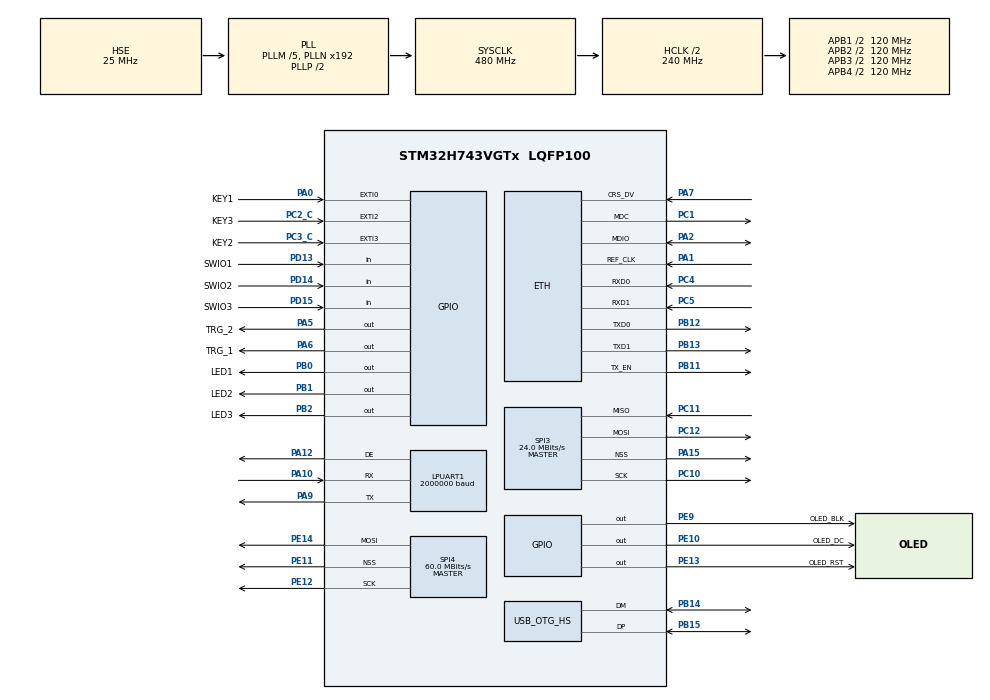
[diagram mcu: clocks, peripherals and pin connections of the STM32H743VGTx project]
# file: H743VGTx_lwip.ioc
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ADC3.Channel-0\#ChannelRegularConversion=ADC_CHANNEL_TEMPSENSOR
ADC3.NbrOfConversionFlag=1
ADC3.OffsetNumber-0\#ChannelRegularConversion=ADC_OFFSET_NONE
ADC3.OffsetSignedSaturation-0\#ChannelRegularConversion=DISABLE
ADC3.Rank-0\#ChannelRegularConversion=1
ADC3.SamplingTime-0\#ChannelRegularConversion=ADC_SAMPLETIME_810CYCLES_5
Bdma.LPUART1_RX.0.Direction=DMA_PERIPH_TO_MEMORY
Bdma.LPUART1_RX.0.EventEnable=DISABLE
Bdma.LPUART1_RX.0.Instance=BDMA_Channel0
Bdma.LPUART1_RX.0.MemDataAlignment=DMA_MDATAALIGN_BYTE
Bdma.LPUART1_RX.0.MemInc=DMA_MINC_ENABLE
Bdma.LPUART1_RX.0.Mode=DMA_NORMAL
Bdma.LPUART1_RX.0.PeriphDataAlignment=DMA_PDATAALIGN_BYTE
Bdma.LPUART1_RX.0.PeriphInc=DMA_PINC_DISABLE
Bdma.LPUART1_RX.0.Polarity=HAL_DMAMUX_REQ_GEN_RISING
Bdma.LPUART1_RX.0.Priority=DMA_PRIORITY_HIGH
Bdma.LPUART1_RX.0.RequestNumber=1
Bdma.LPUART1_RX.0.SignalID=NONE
Bdma.LPUART1_RX.0.SyncEnable=DISABLE
Bdma.LPUART1_RX.0.SyncPolarity=HAL_DMAMUX_SYNC_NO_EVENT
Bdma.LPUART1_RX.0.SyncRequestNumber=1
Bdma.LPUART1_RX.0.SyncSignalID=NONE
Bdma.LPUART1_TX.1.Direction=DMA_MEMORY_TO_PERIPH
Bdma.LPUART1_TX.1.EventEnable=DISABLE
Bdma.LPUART1_TX.1.Instance=BDMA_Channel1
Bdma.LPUART1_TX.1.MemDataAlignment=DMA_MDATAALIGN_BYTE
Bdma.LPUART1_TX.1.MemInc=DMA_MINC_ENABLE
Bdma.LPUART1_TX.1.Mode=DMA_NORMAL
Bdma.LPUART1_TX.1.PeriphDataAlignment=DMA_PDATAALIGN_BYTE
Bdma.LPUART1_TX.1.PeriphInc=DMA_PINC_DISABLE
Bdma.LPUART1_TX.1.Polarity=HAL_DMAMUX_REQ_GEN_RISING
Bdma.LPUART1_TX.1.Priority=DMA_PRIORITY_HIGH
Bdma.LPUART1_TX.1.RequestNumber=1
Bdma.LPUART1_TX.1.SignalID=NONE
Bdma.LPUART1_TX.1.SyncEnable=DISABLE
Bdma.LPUART1_TX.1.SyncPolarity=HAL_DMAMUX_SYNC_NO_EVENT
Bdma.LPUART1_TX.1.SyncRequestNumber=1
Bdma.LPUART1_TX.1.SyncSignalID=NONE
Bdma.Request0=LPUART1_RX
Bdma.Request1=LPUART1_TX
Bdma.RequestsNb=2
CORTEX_M7.AccessPermission_S-Cortex_Memory_Protection_Unit_Region1_Settings_S=MPU_REGION_FULL_ACCESS
CORTEX_M7.AccessPermission_S-Cortex_Memory_Protection_Unit_Region2_Settings_S=MPU_REGION_FULL_ACCESS
CORTEX_M7.BaseAddress_S-Cortex_Memory_Protection_Unit_Region1_Settings_S=0x30020000
CORTEX_M7.BaseAddress_S-Cortex_Memory_Protection_Unit_Region2_Settings_S=0x30040000
CORTEX_M7.CPU_DCache=Enabled
CORTEX_M7.CPU_ICache=Enabled
CORTEX_M7.DisableExec_S-Cortex_Memory_Protection_Unit_Region1_Settings_S=MPU_INSTRUCTION_ACCESS_DISABLE
CORTEX_M7.DisableExec_S-Cortex_Memory_Protection_Unit_Region2_Settings_S=MPU_INSTRUCTION_ACCESS_DISABLE
CORTEX_M7.Enable_S-Cortex_Memory_Protection_Unit_Region1_Settings_S=MPU_REGION_ENABLE
CORTEX_M7.Enable_S-Cortex_Memory_Protection_Unit_Region2_Settings_S=MPU_REGION_ENABLE
CORTEX_M7.IsBufferable_S-Cortex_Memory_Protection_Unit_Region2_Settings_S=MPU_ACCESS_BUFFERABLE
CORTEX_M7.IsShareable_S-Cortex_Memory_Protection_Unit_Region2_Settings_S=MPU_ACCESS_SHAREABLE
CORTEX_M7.Size_S-Cortex_Memory_Protection_Unit_Region1_Settings_S=MPU_REGION_SIZE_128KB
CORTEX_M7.Size_S-Cortex_Memory_Protection_Unit_Region2_Settings_S=MPU_REGION_SIZE_512B
CORTEX_M7.TypeExtField_S-Cortex_Memory_Protection_Unit_Region1_Settings_S=MPU_TEX_LEVEL1
CORTEX_M7.default_mode_Activation=1
CRC.CRCLength=CRC_POLYLENGTH_16B
CRC.DefaultPolynomialUse=DEFAULT_POLYNOMIAL_DISABLE
CRC.GeneratingPolynomial=X15+X2+X0
CRC.InputDataInversionMode=CRC_INPUTDATA_INVERSION_BYTE
CRC.OutputDataInversionMode=CRC_OUTPUTDATA_INVERSION_ENABLE
ETH.MediaInterface=HAL_ETH_RMII_MODE
ETH.RxBuffLen=1536
ETH.RxDescAddress=0x30040000
ETH.TxDescAddress=0x30040200
FREERTOS.Tasks01=defaultTask,24,512,StartDefaultTask,Default,NULL,Dynamic,NULL,NULL;adcTask,8,512,StartAdcTask,Default,NULL,Dynamic,NULL,NULL;modbusTask,40,2048,StartModbusTask,Default,NULL,Dynamic,NULL,NULL
FREERTOS.configENABLE_FPU=0
FREERTOS.configMINIMAL_STACK_SIZE=512
FREERTOS.configTOTAL_HEAP_SIZE=32768
FREERTOS.configUSE_NEWLIB_REENTRANT=1
LPUART1.BaudRate=2000000
LWIP.BSP.number=1
LWIP.DEFAULT_THREAD_STACKSIZE=2048
LWIP.GATEWAY_ADDRESS=192.168.001.001
LWIP.IP_ADDRESS=192.168.001.010
LWIP.LWIP_DHCP=0
LWIP.LWIP_IGMP=1
LWIP.LWIP_MULTICAST_TX_OPTIONS=1
LWIP.LWIP_RAM_HEAP_POINTER=0x30020000
LWIP.LWIP_RAW=1
LWIP.MEM_SIZE=131048
LWIP.NETMASK_ADDRESS=255.255.255.000
LWIP.TCPIP_THREAD_STACKSIZE=2048
LWIP.Version=v2.1.2_Cube
LWIP0.BSP.STBoard=false
LWIP0.BSP.api=BSP_COMPONENT_DRIVER
LWIP0.BSP.component=LAN8742
LWIP0.BSP.instance=LAN8742
LWIP0.BSP.name=Driver_PHY
LWIP0.BSP.semaphore=S_LAN8742
LWIP0.BSP.solution=LAN8742
Mcu.Family=STM32H7
Mcu.Name=STM32H743VGTx
Mcu.Package=LQFP100
NVIC.BDMA_Channel0_IRQn=true\:5\:0\:false\:false\:true\:true\:false\:true\:true
NVIC.BDMA_Channel1_IRQn=true\:5\:0\:false\:false\:true\:true\:false\:true\:true
NVIC.ETH_IRQn=true\:5\:0\:false\:false\:true\:true\:true\:true\:true
NVIC.EXTI0_IRQn=true\:5\:0\:false\:false\:true\:true\:true\:true\:true
NVIC.EXTI2_IRQn=true\:5\:0\:false\:false\:true\:true\:true\:true\:true
NVIC.EXTI3_IRQn=true\:5\:0\:false\:false\:true\:true\:true\:true\:true
NVIC.LPUART1_IRQn=true\:5\:0\:false\:false\:true\:true\:true\:true\:true
NVIC.OTG_HS_IRQn=true\:5\:0\:false\:false\:true\:true\:false\:true\:true
NVIC.PriorityGroup=NVIC_PRIORITYGROUP_4
NVIC.TIM2_IRQn=true\:5\:0\:false\:false\:true\:true\:true\:true\:true
NVIC.TIM6_DAC_IRQn=true\:15\:0\:false\:false\:true\:false\:false\:true\:true
NVIC.TimeBase=TIM6_DAC_IRQn
NVIC.TimeBaseIP=TIM6
PA0.GPIO_Label=KEY1
PA0.GPIO_ModeDefaultEXTI=GPIO_MODE_IT_RISING_FALLING
PA0.GPIO_PuPd=GPIO_PULLUP
PA0.Signal=GPXTI0
PA1.GPIO_Speed=GPIO_SPEED_FREQ_VERY_HIGH
PA1.Mode=RMII
PA1.Signal=ETH_REF_CLK
PA10.GPIO_PuPd=GPIO_PULLUP
PA10.GPIO_Speed=GPIO_SPEED_FREQ_VERY_HIGH
PA10.Mode=Asynchronous
PA10.Signal=LPUART1_RX
PA12.GPIO_PuPd=GPIO_PULLDOWN
PA12.GPIO_Speed=GPIO_SPEED_FREQ_HIGH
PA12.Mode=Hardware Flow Control (RS485)
PA12.Signal=LPUART1_DE
PA13\ (JTMS/SWDIO).Mode=Serial_Wire
PA13\ (JTMS/SWDIO).Signal=DEBUG_JTMS-SWDIO
PA14\ (JTCK/SWCLK).Mode=Serial_Wire
PA14\ (JTCK/SWCLK).Signal=DEBUG_JTCK-SWCLK
PA15\ (JTDI).GPIO_PuPd=GPIO_PULLUP
PA15\ (JTDI).Mode=NSS_Signal_Hard_Output
PA15\ (JTDI).Signal=SPI3_NSS
PA2.GPIO_Speed=GPIO_SPEED_FREQ_VERY_HIGH
PA2.Mode=RMII
PA2.Signal=ETH_MDIO
PA5.GPIO_Label=TRG_2
PA5.GPIO_PuPd=GPIO_PULLDOWN
PA5.GPIO_Speed=GPIO_SPEED_FREQ_HIGH
PA5.Signal=GPIO_Output
PA6.GPIO_Label=TRG_1
PA6.GPIO_PuPd=GPIO_PULLDOWN
PA6.GPIO_Speed=GPIO_SPEED_FREQ_HIGH
PA6.Signal=GPIO_Output
PA7.GPIO_Speed=GPIO_SPEED_FREQ_VERY_HIGH
PA7.Mode=RMII
PA7.Signal=ETH_CRS_DV
PA9.GPIO_Speed=GPIO_SPEED_FREQ_VERY_HIGH
PA9.Mode=Asynchronous
PA9.Signal=LPUART1_TX
PB0.GPIO_Label=LED1
PB0.Signal=GPIO_Output
PB1.GPIO_Label=LED2
PB1.Signal=GPIO_Output
PB11.GPIO_Speed=GPIO_SPEED_FREQ_VERY_HIGH
PB11.Mode=RMII
PB11.Signal=ETH_TX_EN
PB12.GPIO_Speed=GPIO_SPEED_FREQ_VERY_HIGH
PB12.Mode=RMII
PB12.Signal=ETH_TXD0
PB13.GPIO_Speed=GPIO_SPEED_FREQ_VERY_HIGH
PB13.Mode=RMII
PB13.Signal=ETH_TXD1
PB14.Mode=Device_Only_FS
PB14.Signal=USB_OTG_HS_DM
PB15.Mode=Device_Only_FS
PB15.Signal=USB_OTG_HS_DP
PB2.GPIO_Label=LED3
PB2.Signal=GPIO_Output
PC1.GPIO_Speed=GPIO_SPEED_FREQ_VERY_HIGH
PC1.Mode=RMII
PC1.Signal=ETH_MDC
PC10.Mode=Full_Duplex_Master
PC10.Signal=SPI3_SCK
PC11.Mode=Full_Duplex_Master
PC11.Signal=SPI3_MISO
PC12.Mode=Full_Duplex_Master
PC12.Signal=SPI3_MOSI
PC2_C.GPIO_Label=KEY3
PC2_C.GPIO_ModeDefaultEXTI=GPIO_MODE_IT_RISING_FALLING
PC2_C.GPIO_PuPd=GPIO_PULLUP
PC2_C.Signal=GPXTI2
PC3_C.GPIO_Label=KEY2
PC3_C.GPIO_ModeDefaultEXTI=GPIO_MODE_IT_RISING_FALLING
PC3_C.GPIO_PuPd=GPIO_PULLUP
PC3_C.Signal=GPXTI3
PC4.GPIO_Speed=GPIO_SPEED_FREQ_VERY_HIGH
PC4.Mode=RMII
PC4.Signal=ETH_RXD0
PC5.GPIO_Speed=GPIO_SPEED_FREQ_VERY_HIGH
PC5.Mode=RMII
PC5.Signal=ETH_RXD1
PD13.GPIO_Label=SWIO1
PD13.GPIO_PuPd=GPIO_PULLUP
PD13.Signal=GPIO_Input
PD14.GPIO_Label=SWIO2
PD14.GPIO_PuPd=GPIO_PULLUP
PD14.Signal=GPIO_Input
PD15.GPIO_Label=SWIO3
PD15.GPIO_PuPd=GPIO_PULLUP
PD15.Signal=GPIO_Input
PE10.GPIO_Label=OLED_DC
PE10.Signal=GPIO_Output
PE11.Mode=NSS_Signal_Hard_Output
PE11.Signal=SPI4_NSS
PE12.Mode=TX_Only_Simplex_Unidirect_Master
PE12.Signal=SPI4_SCK
PE13.GPIO_Label=OLED_RST
PE13.Signal=GPIO_Output
PE14.Mode=TX_Only_Simplex_Unidirect_Master
PE14.Signal=SPI4_MOSI
PE9.GPIO_Label=OLED_BLK
PE9.Signal=GPIO_Output
PH0-OSC_IN\ (PH0).Mode=HSE-External-Oscillator
PH0-OSC_IN\ (PH0).Signal=RCC_OSC_IN
PH1-OSC_OUT\ (PH1).Mode=HSE-External-Oscillator
PH1-OSC_OUT\ (PH1).Signal=RCC_OSC_OUT
ProjectManager.HeapSize=0x2000
ProjectManager.StackSize=0x4000
ProjectManager.TargetToolchain=CMake
RCC.ADCFreq_Value=60000000
RCC.APB1Freq_Value=120000000
RCC.APB2Freq_Value=120000000
RCC.APB3Freq_Value=120000000
RCC.APB4Freq_Value=120000000
RCC.CortexFreq_Value=480000000
RCC.D1PPRE=RCC_APB3_DIV2
RCC.D2PPRE1=RCC_APB1_DIV2
RCC.D2PPRE2=RCC_APB2_DIV2
RCC.D3PPRE=RCC_APB4_DIV2
RCC.DIVM1=5
RCC.DIVM2=5
RCC.DIVN1=192
RCC.DIVN2=48
RCC.DIVP2=4
RCC.DIVQ1=20
RCC.DIVQ2=4
RCC.HCLKFreq_Value=240000000
RCC.HPRE=RCC_HCLK_DIV2
RCC.HSE_VALUE=25000000
RCC.LPUART1CLockSelection=RCC_LPUART1CLKSOURCE_PLL2
RCC.PLLSourceVirtual=RCC_PLLSOURCE_HSE
RCC.SYSCLKFreq_VALUE=480000000
RCC.SYSCLKSource=RCC_SYSCLKSOURCE_PLLCLK
RCC.USBFreq_Value=48000000
SPI3.BaudRatePrescaler=SPI_BAUDRATEPRESCALER_2
SPI3.CalculateBaudRate=24.0 MBits/s
SPI3.DataSize=SPI_DATASIZE_8BIT
SPI3.Direction=SPI_DIRECTION_2LINES
SPI3.Mode=SPI_MODE_MASTER
SPI3.VirtualNSS=VM_NSSHARD
SPI3.VirtualType=VM_MASTER
SPI4.CalculateBaudRate=60.0 MBits/s
SPI4.Direction=SPI_DIRECTION_2LINES_TXONLY
SPI4.Mode=SPI_MODE_MASTER
SPI4.VirtualNSS=VM_NSSHARD
SPI4.VirtualType=VM_MASTER
TIM2.Period=999999
TIM2.Prescaler=239
TIM4.Period=65535
TIM4.Prescaler=239
USB_DEVICE.CLASS_NAME_HS=CDC
USB_DEVICE.VirtualMode-CDC_HS=Cdc
USB_DEVICE.VirtualModeHS=Cdc_HS
USB_OTG_HS.VirtualMode-Device_Only_FS=Device_Only_FS
VP_ADC3_TempSens_Input.Mode=IN-TempSens
VP_CRC_VS_CRC.Mode=CRC_Activate
VP_FREERTOS_VS_CMSIS_V2.Mode=CMSIS_V2
VP_LWIP_VS_Enabled.Mode=Enabled
VP_MEMORYMAP_VS_MEMORYMAP.Mode=CurAppReg
VP_SYS_VS_tim6.Mode=TIM6
VP_TIM2_VS_ClockSourceINT.Mode=Internal
VP_TIM4_VS_ClockSourceINT.Mode=Internal
VP_USB_DEVICE_VS_USB_DEVICE_CDC_HS.Mode=CDC_HS
board=custom

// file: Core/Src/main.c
/* USER CODE BEGIN Header */
/**
  ******************************************************************************
  * @file           : main.c
  * @brief          : Main program body
  ******************************************************************************
  * @attention
  *
  * Copyright (c) 2025 STMicroelectronics.
  * All rights reserved.
  *
  * This software is licensed under terms that can be found in the LICENSE file
  * in the root directory of this software component.
  * If no LICENSE file comes with this software, it is provided AS-IS.
  *
  ******************************************************************************
  */
/* USER CODE END Header */
#include "main.h"
#include "cmsis_os.h"
#include "lwip.h"
#include "usb_device.h"

/* USER CODE BEGIN Includes */
#include "usbd_cdc_if.h"
#include "ptpd.h"
#include "udp_conn.h"
#include "modbus_rtu.h"
#include "mag_sensor.h"
#include "ICM42688P.h"
// #include "sensor_DHCP.h"
// #include "config.h"
/* USER CODE END Includes */

ADC_HandleTypeDef hadc3;

CRC_HandleTypeDef hcrc;

UART_HandleTypeDef hlpuart1;
DMA_HandleTypeDef hdma_lpuart1_rx;
DMA_HandleTypeDef hdma_lpuart1_tx;

SPI_HandleTypeDef hspi3;
SPI_HandleTypeDef hspi4;

TIM_HandleTypeDef htim2;
TIM_HandleTypeDef htim4;

/* Definitions for defaultTask */
osThreadId_t defaultTaskHandle;
const osThreadAttr_t defaultTask_attributes = {
  .name = "defaultTask",
  .stack_size = 512 * 4,
  .priority = (osPriority_t) osPriorityNormal,
};
/* Definitions for adcTask */
osThreadId_t adcTaskHandle;
const osThreadAttr_t adcTask_attributes = {
  .name = "adcTask",
  .stack_size = 512 * 4,
  .priority = (osPriority_t) osPriorityLow,
};
/* Definitions for modbusTask */
osThreadId_t modbusTaskHandle;
const osThreadAttr_t modbusTask_attributes = {
  .name = "modbusTask",
  .stack_size = 2048 * 4,
  .priority = (osPriority_t) osPriorityHigh,
};
/* USER CODE BEGIN PV */
uint8_t key1_pressed = 0;
uint8_t key2_pressed = 0;
uint8_t key3_pressed = 0;
struct udp_pcb* pcb;
/* USER CODE END PV */

void SystemClock_Config(void);
void PeriphCommonClock_Config(void);
static void MPU_Config(void);
static void MX_GPIO_Init(void);
static void MX_BDMA_Init(void);
static void MX_CRC_Init(void);
static void MX_LPUART1_UART_Init(void);
static void MX_SPI3_Init(void);
static void MX_SPI4_Init(void);
static void MX_ADC3_Init(void);
static void MX_TIM2_Init(void);
static void MX_TIM4_Init(void);
void StartDefaultTask(void *argument);
void StartAdcTask(void *argument);
void StartModbusTask(void *argument);

int main(void)
{

  /* MPU Configuration--------------------------------------------------------*/
  MPU_Config();

  /* Enable the CPU Cache */

  /* Enable I-Cache---------------------------------------------------------*/
  SCB_EnableICache();

  /* Enable D-Cache---------------------------------------------------------*/
  SCB_EnableDCache();

  /* MCU Configuration--------------------------------------------------------*/

  /* Reset of all peripherals, Initializes the Flash interface and the Systick. */
  HAL_Init();

  /* Configure the system clock */
  SystemClock_Config();

  /* Configure the peripherals common clocks */
  PeriphCommonClock_Config();

  /* Initialize all configured peripherals */
  MX_GPIO_Init();
  MX_BDMA_Init();
  MX_CRC_Init();
  MX_LPUART1_UART_Init();
  MX_SPI3_Init();
  MX_SPI4_Init();
  MX_ADC3_Init();
  MX_TIM2_Init();
  MX_TIM4_Init();
  /* USER CODE BEGIN 2 */
  HAL_Delay(500);
  HAL_ADCEx_Calibration_Start(&hadc3,ADC_CALIB_OFFSET,ADC_SINGLE_ENDED);
  HAL_Delay(500);
  /* USER CODE END 2 */

  /* Init scheduler */
  osKernelInitialize();

  /* Create the thread(s) */
  /* creation of defaultTask */
  defaultTaskHandle = osThreadNew(StartDefaultTask, NULL, &defaultTask_attributes);

  /* creation of adcTask */
  adcTaskHandle = osThreadNew(StartAdcTask, NULL, &adcTask_attributes);

  /* creation of modbusTask */
  modbusTaskHandle = osThreadNew(StartModbusTask, NULL, &modbusTask_attributes);

  /* Start scheduler */
  osKernelStart();

  /* We should never get here as control is now taken by the scheduler */

  /* Infinite loop */
  while (1)
  {

  }
}

void SystemClock_Config(void)
{
  RCC_OscInitTypeDef RCC_OscInitStruct = {0};
  RCC_ClkInitTypeDef RCC_ClkInitStruct = {0};

  /** Supply configuration update enable
  */
  HAL_PWREx_ConfigSupply(PWR_LDO_SUPPLY);

  /** Configure the main internal regulator output voltage
  */
  __HAL_PWR_VOLTAGESCALING_CONFIG(PWR_REGULATOR_VOLTAGE_SCALE0);

  while(!__HAL_PWR_GET_FLAG(PWR_FLAG_VOSRDY)) {}

  /** Initializes the RCC Oscillators according to the specified parameters
  * in the RCC_OscInitTypeDef structure.
  */
  RCC_OscInitStruct.OscillatorType = RCC_OSCILLATORTYPE_HSE;
  RCC_OscInitStruct.HSEState = RCC_HSE_ON;
  RCC_OscInitStruct.PLL.PLLState = RCC_PLL_ON;
  RCC_OscInitStruct.PLL.PLLSource = RCC_PLLSOURCE_HSE;
  RCC_OscInitStruct.PLL.PLLM = 5;
  RCC_OscInitStruct.PLL.PLLN = 192;
  RCC_OscInitStruct.PLL.PLLP = 2;
  RCC_OscInitStruct.PLL.PLLQ = 20;
  RCC_OscInitStruct.PLL.PLLR = 2;
  RCC_OscInitStruct.PLL.PLLRGE = RCC_PLL1VCIRANGE_2;
  RCC_OscInitStruct.PLL.PLLVCOSEL = RCC_PLL1VCOWIDE;
  RCC_OscInitStruct.PLL.PLLFRACN = 0;
  if (HAL_RCC_OscConfig(&RCC_OscInitStruct) != HAL_OK)
  {
    Error_Handler();
  }

  /** Initializes the CPU, AHB and APB buses clocks
  */
  RCC_ClkInitStruct.ClockType = RCC_CLOCKTYPE_HCLK|RCC_CLOCKTYPE_SYSCLK
                              |RCC_CLOCKTYPE_PCLK1|RCC_CLOCKTYPE_PCLK2
                              |RCC_CLOCKTYPE_D3PCLK1|RCC_CLOCKTYPE_D1PCLK1;
  RCC_ClkInitStruct.SYSCLKSource = RCC_SYSCLKSOURCE_PLLCLK;
  RCC_ClkInitStruct.SYSCLKDivider = RCC_SYSCLK_DIV1;
  RCC_ClkInitStruct.AHBCLKDivider = RCC_HCLK_DIV2;
  RCC_ClkInitStruct.APB3CLKDivider = RCC_APB3_DIV2;
  RCC_ClkInitStruct.APB1CLKDivider = RCC_APB1_DIV2;
  RCC_ClkInitStruct.APB2CLKDivider = RCC_APB2_DIV2;
  RCC_ClkInitStruct.APB4CLKDivider = RCC_APB4_DIV2;

  if (HAL_RCC_ClockConfig(&RCC_ClkInitStruct, FLASH_LATENCY_4) != HAL_OK)
  {
    Error_Handler();
  }
}

void PeriphCommonClock_Config(void)
{
  RCC_PeriphCLKInitTypeDef PeriphClkInitStruct = {0};

  /** Initializes the peripherals clock
  */
  PeriphClkInitStruct.PeriphClockSelection = RCC_PERIPHCLK_ADC|RCC_PERIPHCLK_LPUART1;
  PeriphClkInitStruct.PLL2.PLL2M = 5;
  PeriphClkInitStruct.PLL2.PLL2N = 48;
  PeriphClkInitStruct.PLL2.PLL2P = 4;
  PeriphClkInitStruct.PLL2.PLL2Q = 4;
  PeriphClkInitStruct.PLL2.PLL2R = 2;
  PeriphClkInitStruct.PLL2.PLL2RGE = RCC_PLL2VCIRANGE_2;
  PeriphClkInitStruct.PLL2.PLL2VCOSEL = RCC_PLL2VCOWIDE;
  PeriphClkInitStruct.PLL2.PLL2FRACN = 0;
  PeriphClkInitStruct.Lpuart1ClockSelection = RCC_LPUART1CLKSOURCE_PLL2;
  PeriphClkInitStruct.AdcClockSelection = RCC_ADCCLKSOURCE_PLL2;
  if (HAL_RCCEx_PeriphCLKConfig(&PeriphClkInitStruct) != HAL_OK)
  {
    Error_Handler();
  }
}

static void MX_ADC3_Init(void)
{

  ADC_ChannelConfTypeDef sConfig = {0};

  /** Common config
  */
  hadc3.Instance = ADC3;
  hadc3.Init.Resolution = ADC_RESOLUTION_16B;
  hadc3.Init.ScanConvMode = ADC_SCAN_DISABLE;
  hadc3.Init.EOCSelection = ADC_EOC_SINGLE_CONV;
  hadc3.Init.LowPowerAutoWait = DISABLE;
  hadc3.Init.ContinuousConvMode = DISABLE;
  hadc3.Init.NbrOfConversion = 1;
  hadc3.Init.DiscontinuousConvMode = DISABLE;
  hadc3.Init.ExternalTrigConv = ADC_SOFTWARE_START;
  hadc3.Init.ExternalTrigConvEdge = ADC_EXTERNALTRIGCONVEDGE_NONE;
  hadc3.Init.ConversionDataManagement = ADC_CONVERSIONDATA_DR;
  hadc3.Init.Overrun = ADC_OVR_DATA_PRESERVED;
  hadc3.Init.LeftBitShift = ADC_LEFTBITSHIFT_NONE;
  hadc3.Init.OversamplingMode = DISABLE;
  hadc3.Init.Oversampling.Ratio = 1;
  if (HAL_ADC_Init(&hadc3) != HAL_OK)
  {
    Error_Handler();
  }

  /** Configure Regular Channel
  */
  sConfig.Channel = ADC_CHANNEL_TEMPSENSOR;
  sConfig.Rank = ADC_REGULAR_RANK_1;
  sConfig.SamplingTime = ADC_SAMPLETIME_810CYCLES_5;
  sConfig.SingleDiff = ADC_SINGLE_ENDED;
  sConfig.OffsetNumber = ADC_OFFSET_NONE;
  sConfig.Offset = 0;
  sConfig.OffsetSignedSaturation = DISABLE;
  if (HAL_ADC_ConfigChannel(&hadc3, &sConfig) != HAL_OK)
  {
    Error_Handler();
  }

}

static void MX_CRC_Init(void)
{

  hcrc.Instance = CRC;
  hcrc.Init.DefaultPolynomialUse = DEFAULT_POLYNOMIAL_DISABLE;
  hcrc.Init.DefaultInitValueUse = DEFAULT_INIT_VALUE_ENABLE;
  hcrc.Init.GeneratingPolynomial = 32773;
  hcrc.Init.CRCLength = CRC_POLYLENGTH_16B;
  hcrc.Init.InputDataInversionMode = CRC_INPUTDATA_INVERSION_BYTE;
  hcrc.Init.OutputDataInversionMode = CRC_OUTPUTDATA_INVERSION_ENABLE;
  hcrc.InputDataFormat = CRC_INPUTDATA_FORMAT_BYTES;
  if (HAL_CRC_Init(&hcrc) != HAL_OK)
  {
    Error_Handler();
  }
  /* USER CODE BEGIN CRC_Init 2 */

/***
  hcrc16.Init.GeneratingPolynomial = 0x8005; // X^16 + X^15 + X^2 + 1
  hcrc16.Init.CRCLength = CRC_POLYLENGTH_16B;

  hcrc32.Init.GeneratingPolynomial = 0x04C11DB7U;  //  X^32 + X^26 + X^23 + X^22 + X^16 + X^12 + X^11 + X^10 + X^8 + X^7 + X^5 + X^4 + X^2 + X + 1
  hcrc32.Init.CRCLength = CRC_POLYLENGTH_32B;
***/

  /* USER CODE END CRC_Init 2 */

}

static void MX_LPUART1_UART_Init(void)
{

  hlpuart1.Instance = LPUART1;
  hlpuart1.Init.BaudRate = 2000000;
  hlpuart1.Init.WordLength = UART_WORDLENGTH_8B;
  hlpuart1.Init.StopBits = UART_STOPBITS_1;
  hlpuart1.Init.Parity = UART_PARITY_NONE;
  hlpuart1.Init.Mode = UART_MODE_TX_RX;
  hlpuart1.Init.HwFlowCtl = UART_HWCONTROL_NONE;
  hlpuart1.Init.OneBitSampling = UART_ONE_BIT_SAMPLE_DISABLE;
  hlpuart1.Init.ClockPrescaler = UART_PRESCALER_DIV1;
  hlpuart1.AdvancedInit.AdvFeatureInit = UART_ADVFEATURE_NO_INIT;
  hlpuart1.FifoMode = UART_FIFOMODE_DISABLE;
  if (HAL_UART_Init(&hlpuart1) != HAL_OK)
  {
    Error_Handler();
  }
  if (HAL_UARTEx_SetTxFifoThreshold(&hlpuart1, UART_TXFIFO_THRESHOLD_1_8) != HAL_OK)
  {
    Error_Handler();
  }
  if (HAL_UARTEx_SetRxFifoThreshold(&hlpuart1, UART_RXFIFO_THRESHOLD_1_8) != HAL_OK)
  {
    Error_Handler();
  }
  if (HAL_UARTEx_DisableFifoMode(&hlpuart1) != HAL_OK)
  {
    Error_Handler();
  }
  if (HAL_RS485Ex_Init(&hlpuart1, UART_DE_POLARITY_HIGH, 0, 0) != HAL_OK)
  {
    Error_Handler();
  }

}

static void MX_SPI3_Init(void)
{

  /* SPI3 parameter configuration*/
  hspi3.Instance = SPI3;
  hspi3.Init.Mode = SPI_MODE_MASTER;
  hspi3.Init.Direction = SPI_DIRECTION_2LINES;
  hspi3.Init.DataSize = SPI_DATASIZE_8BIT;
  hspi3.Init.CLKPolarity = SPI_POLARITY_LOW;
  hspi3.Init.CLKPhase = SPI_PHASE_1EDGE;
  #if SPI3_USE_SOFT_NSS
  hspi3.Init.NSS = SPI_NSS_SOFT;
  #else
  hspi3.Init.NSS = SPI_NSS_HARD_OUTPUT;
  #endif
  hspi3.Init.BaudRatePrescaler = SPI_BAUDRATEPRESCALER_2;
  hspi3.Init.FirstBit = SPI_FIRSTBIT_MSB;
  hspi3.Init.TIMode = SPI_TIMODE_DISABLE;
  hspi3.Init.CRCCalculation = SPI_CRCCALCULATION_DISABLE;
  hspi3.Init.CRCPolynomial = 0x0;
  hspi3.Init.NSSPMode = SPI_NSS_PULSE_ENABLE;
  hspi3.Init.NSSPolarity = SPI_NSS_POLARITY_LOW;
  hspi3.Init.FifoThreshold = SPI_FIFO_THRESHOLD_01DATA;
  hspi3.Init.TxCRCInitializationPattern = SPI_CRC_INITIALIZATION_ALL_ZERO_PATTERN;
  hspi3.Init.RxCRCInitializationPattern = SPI_CRC_INITIALIZATION_ALL_ZERO_PATTERN;
  hspi3.Init.MasterSSIdleness = SPI_MASTER_SS_IDLENESS_00CYCLE;
  hspi3.Init.MasterInterDataIdleness = SPI_MASTER_INTERDATA_IDLENESS_00CYCLE;
  hspi3.Init.MasterReceiverAutoSusp = SPI_MASTER_RX_AUTOSUSP_DISABLE;
  hspi3.Init.MasterKeepIOState = SPI_MASTER_KEEP_IO_STATE_DISABLE;
  hspi3.Init.IOSwap = SPI_IO_SWAP_DISABLE;
  if (HAL_SPI_Init(&hspi3) != HAL_OK)
  {
    Error_Handler();
  }
  /* USER CODE BEGIN SPI3_Init 2 */
  #if SPI3_USE_SOFT_NSS
  GPIO_InitTypeDef GPIO_InitStruct = {0};
  GPIO_InitStruct.Pin = GPIO_PIN_15;
  GPIO_InitStruct.Mode = GPIO_MODE_OUTPUT_PP;
  GPIO_InitStruct.Pull = GPIO_PULLUP;
  GPIO_InitStruct.Speed = GPIO_SPEED_FREQ_HIGH;
  HAL_GPIO_Init(GPIOA, &GPIO_InitStruct);
  #endif
  /* USER CODE END SPI3_Init 2 */

}

static void MX_SPI4_Init(void)
{

  /* SPI4 parameter configuration*/
  hspi4.Instance = SPI4;
  hspi4.Init.Mode = SPI_MODE_MASTER;
  hspi4.Init.Direction = SPI_DIRECTION_2LINES_TXONLY;
  hspi4.Init.DataSize = SPI_DATASIZE_4BIT;
  hspi4.Init.CLKPolarity = SPI_POLARITY_LOW;
  hspi4.Init.CLKPhase = SPI_PHASE_1EDGE;
  hspi4.Init.NSS = SPI_NSS_HARD_OUTPUT;
  hspi4.Init.BaudRatePrescaler = SPI_BAUDRATEPRESCALER_2;
  hspi4.Init.FirstBit = SPI_FIRSTBIT_MSB;
  hspi4.Init.TIMode = SPI_TIMODE_DISABLE;
  hspi4.Init.CRCCalculation = SPI_CRCCALCULATION_DISABLE;
  hspi4.Init.CRCPolynomial = 0x0;
  hspi4.Init.NSSPMode = SPI_NSS_PULSE_ENABLE;
  hspi4.Init.NSSPolarity = SPI_NSS_POLARITY_LOW;
  hspi4.Init.FifoThreshold = SPI_FIFO_THRESHOLD_01DATA;
  hspi4.Init.TxCRCInitializationPattern = SPI_CRC_INITIALIZATION_ALL_ZERO_PATTERN;
  hspi4.Init.RxCRCInitializationPattern = SPI_CRC_INITIALIZATION_ALL_ZERO_PATTERN;
  hspi4.Init.MasterSSIdleness = SPI_MASTER_SS_IDLENESS_00CYCLE;
  hspi4.Init.MasterInterDataIdleness = SPI_MASTER_INTERDATA_IDLENESS_00CYCLE;
  hspi4.Init.MasterReceiverAutoSusp = SPI_MASTER_RX_AUTOSUSP_DISABLE;
  hspi4.Init.MasterKeepIOState = SPI_MASTER_KEEP_IO_STATE_DISABLE;
  hspi4.Init.IOSwap = SPI_IO_SWAP_DISABLE;
  if (HAL_SPI_Init(&hspi4) != HAL_OK)
  {
    Error_Handler();
  }

}

static void MX_TIM2_Init(void)
{

  TIM_ClockConfigTypeDef sClockSourceConfig = {0};
  TIM_MasterConfigTypeDef sMasterConfig = {0};

  htim2.Instance = TIM2;
  htim2.Init.Prescaler = 239;
  htim2.Init.CounterMode = TIM_COUNTERMODE_UP;
  htim2.Init.Period = 999999;
  htim2.Init.ClockDivision = TIM_CLOCKDIVISION_DIV1;
  htim2.Init.AutoReloadPreload = TIM_AUTORELOAD_PRELOAD_DISABLE;
  if (HAL_TIM_Base_Init(&htim2) != HAL_OK)
  {
    Error_Handler();
  }
  sClockSourceConfig.ClockSource = TIM_CLOCKSOURCE_INTERNAL;
  if (HAL_TIM_ConfigClockSource(&htim2, &sClockSourceConfig) != HAL_OK)
  {
    Error_Handler();
  }
  sMasterConfig.MasterOutputTrigger = TIM_TRGO_RESET;
  sMasterConfig.MasterSlaveMode = TIM_MASTERSLAVEMODE_DISABLE;
  if (HAL_TIMEx_MasterConfigSynchronization(&htim2, &sMasterConfig) != HAL_OK)
  {
    Error_Handler();
  }
  /* USER CODE BEGIN TIM2_Init 2 */
  __HAL_TIM_CLEAR_IT(&htim2,TIM_IT_UPDATE);
  __HAL_TIM_ENABLE_IT(&htim2,TIM_IT_UPDATE);
  __HAL_TIM_SET_COUNTER(&htim2, 0);		// clear timer conter
  __HAL_TIM_ENABLE(&htim2);				// enable timer
  /* USER CODE END TIM2_Init 2 */

}

static void MX_TIM4_Init(void)
{

  TIM_ClockConfigTypeDef sClockSourceConfig = {0};
  TIM_MasterConfigTypeDef sMasterConfig = {0};

  htim4.Instance = TIM4;
  htim4.Init.Prescaler = 239;
  htim4.Init.CounterMode = TIM_COUNTERMODE_UP;
  htim4.Init.Period = 65535;
  htim4.Init.ClockDivision = TIM_CLOCKDIVISION_DIV1;
  htim4.Init.AutoReloadPreload = TIM_AUTORELOAD_PRELOAD_DISABLE;
  if (HAL_TIM_Base_Init(&htim4) != HAL_OK)
  {
    Error_Handler();
  }
  sClockSourceConfig.ClockSource = TIM_CLOCKSOURCE_INTERNAL;
  if (HAL_TIM_ConfigClockSource(&htim4, &sClockSourceConfig) != HAL_OK)
  {
    Error_Handler();
  }
  sMasterConfig.MasterOutputTrigger = TIM_TRGO_RESET;
  sMasterConfig.MasterSlaveMode = TIM_MASTERSLAVEMODE_DISABLE;
  if (HAL_TIMEx_MasterConfigSynchronization(&htim4, &sMasterConfig) != HAL_OK)
  {
    Error_Handler();
  }
  /* USER CODE BEGIN TIM4_Init 2 */
  __HAL_TIM_SET_COUNTER(&htim4, 0);		// clear timer conter
  __HAL_TIM_ENABLE(&htim4);				// enable timer
  /* USER CODE END TIM4_Init 2 */

}

static void MX_BDMA_Init(void)
{

  /* DMA controller clock enable */
  __HAL_RCC_BDMA_CLK_ENABLE();

  /* DMA interrupt init */
  /* BDMA_Channel0_IRQn interrupt configuration */
  HAL_NVIC_SetPriority(BDMA_Channel0_IRQn, 5, 0);
  HAL_NVIC_EnableIRQ(BDMA_Channel0_IRQn);
  /* BDMA_Channel1_IRQn interrupt configuration */
  HAL_NVIC_SetPriority(BDMA_Channel1_IRQn, 5, 0);
  HAL_NVIC_EnableIRQ(BDMA_Channel1_IRQn);

}

static void MX_GPIO_Init(void)
{
  GPIO_InitTypeDef GPIO_InitStruct = {0};

  /* GPIO Ports Clock Enable */
  __HAL_RCC_GPIOH_CLK_ENABLE();
  __HAL_RCC_GPIOC_CLK_ENABLE();
  __HAL_RCC_GPIOA_CLK_ENABLE();
  __HAL_RCC_GPIOB_CLK_ENABLE();
  __HAL_RCC_GPIOE_CLK_ENABLE();
  __HAL_RCC_GPIOD_CLK_ENABLE();

  /*Configure GPIO pin Output Level */
  HAL_GPIO_WritePin(GPIOA, TRG_2_Pin|TRG_1_Pin, GPIO_PIN_RESET);

  /*Configure GPIO pin Output Level */
  HAL_GPIO_WritePin(GPIOB, LED1_Pin|LED2_Pin|LED3_Pin, GPIO_PIN_RESET);

  /*Configure GPIO pin Output Level */
  HAL_GPIO_WritePin(GPIOE, OLED_BLK_Pin|OLED_DC_Pin|OLED_RST_Pin, GPIO_PIN_RESET);

  /*Configure GPIO pins : KEY3_Pin KEY2_Pin */
  GPIO_InitStruct.Pin = KEY3_Pin|KEY2_Pin;
  GPIO_InitStruct.Mode = GPIO_MODE_IT_RISING_FALLING;
  GPIO_InitStruct.Pull = GPIO_PULLUP;
  HAL_GPIO_Init(GPIOC, &GPIO_InitStruct);

  /*Configure GPIO pin : KEY1_Pin */
  GPIO_InitStruct.Pin = KEY1_Pin;
  GPIO_InitStruct.Mode = GPIO_MODE_IT_RISING_FALLING;
  GPIO_InitStruct.Pull = GPIO_PULLUP;
  HAL_GPIO_Init(KEY1_GPIO_Port, &GPIO_InitStruct);

  /*Configure GPIO pins : TRG_2_Pin TRG_1_Pin */
  GPIO_InitStruct.Pin = TRG_2_Pin|TRG_1_Pin;
  GPIO_InitStruct.Mode = GPIO_MODE_OUTPUT_PP;
  GPIO_InitStruct.Pull = GPIO_PULLDOWN;
  GPIO_InitStruct.Speed = GPIO_SPEED_FREQ_HIGH;
  HAL_GPIO_Init(GPIOA, &GPIO_InitStruct);

  /*Configure GPIO pins : LED1_Pin LED2_Pin LED3_Pin */
  GPIO_InitStruct.Pin = LED1_Pin|LED2_Pin|LED3_Pin;
  GPIO_InitStruct.Mode = GPIO_MODE_OUTPUT_PP;
  GPIO_InitStruct.Pull = GPIO_NOPULL;
  GPIO_InitStruct.Speed = GPIO_SPEED_FREQ_LOW;
  HAL_GPIO_Init(GPIOB, &GPIO_InitStruct);

  /*Configure GPIO pins : OLED_BLK_Pin OLED_DC_Pin OLED_RST_Pin */
  GPIO_InitStruct.Pin = OLED_BLK_Pin|OLED_DC_Pin|OLED_RST_Pin;
  GPIO_InitStruct.Mode = GPIO_MODE_OUTPUT_PP;
  GPIO_InitStruct.Pull = GPIO_NOPULL;
  GPIO_InitStruct.Speed = GPIO_SPEED_FREQ_LOW;
  HAL_GPIO_Init(GPIOE, &GPIO_InitStruct);

  /*Configure GPIO pins : SWIO1_Pin SWIO2_Pin SWIO3_Pin */
  GPIO_InitStruct.Pin = SWIO1_Pin|SWIO2_Pin|SWIO3_Pin;
  GPIO_InitStruct.Mode = GPIO_MODE_INPUT;
  GPIO_InitStruct.Pull = GPIO_PULLUP;
  HAL_GPIO_Init(GPIOD, &GPIO_InitStruct);

  /* EXTI interrupt init*/
  HAL_NVIC_SetPriority(KEY1_EXTI_IRQn, 5, 0);
  HAL_NVIC_EnableIRQ(KEY1_EXTI_IRQn);

  HAL_NVIC_SetPriority(KEY3_EXTI_IRQn, 5, 0);
  HAL_NVIC_EnableIRQ(KEY3_EXTI_IRQn);

  HAL_NVIC_SetPriority(KEY2_EXTI_IRQn, 5, 0);
  HAL_NVIC_EnableIRQ(KEY2_EXTI_IRQn);

}

/* USER CODE BEGIN 4 */
// static uint8_t recv_buf[1024] = {0};
void example_recv_udp(void *arg, void* data, u32_t recv_len)
{
  if(data != NULL){
    // usb_printf("udp_recv: %s\n", (const char*)data);
  }
}

void HAL_GPIO_EXTI_Callback(uint16_t GPIO_Pin)
{

  if(GPIO_Pin == KEY1_Pin){
    if(HAL_GPIO_ReadPin(KEY1_GPIO_Port,KEY1_Pin)==GPIO_PIN_RESET){
      //key1 pressed
      key1_pressed = 1;
      HAL_GPIO_TogglePin(LED3_GPIO_Port,LED3_Pin);
    }
    else{
      //key1 released
    }
  }

  if(GPIO_Pin == KEY2_Pin){
    if(HAL_GPIO_ReadPin(KEY2_GPIO_Port,KEY2_Pin)==GPIO_PIN_RESET){
      //key2 pressed
      key2_pressed = 1;
      HAL_GPIO_TogglePin(LED2_GPIO_Port,LED2_Pin);
    }
    else{
      //key2 released
    }
  }

  if(GPIO_Pin == KEY3_Pin){
    if(HAL_GPIO_ReadPin(KEY3_GPIO_Port,KEY3_Pin)==GPIO_PIN_RESET){
      //key3 pressed
      key3_pressed = 1;
      HAL_GPIO_TogglePin(LED1_GPIO_Port,LED1_Pin);
    }
    else{
      //key3 released
    }
  }
}
/* USER CODE END 4 */

void StartDefaultTask(void *argument)
{
  /* init code for LWIP */
  MX_LWIP_Init();

  /* init code for USB_DEVICE */
  MX_USB_DEVICE_Init();
  /* USER CODE BEGIN 5 */
  HAL_GPIO_WritePin(OLED_BLK_GPIO_Port, OLED_BLK_Pin, RESET);
  UNUSED(argument);
  for(;;)
  {
    osDelay(5);
    HAL_GPIO_TogglePin(OLED_BLK_GPIO_Port, OLED_BLK_Pin);
    if(key1_pressed){
      usb_printf("Sensor_num: %d\r\n", sensor_num);
      for(uint8_t i=0; i<sensor_num; i++){
        usb_printf("sensor[%d]: 0x%X, ", i, mag_sensor[i].cfg.mag_sensor_cfg.mb_slave_id);
      }
      usb_printf("\r\n");
      usb_printf("Time Stamp: %.1lf, Total Expected Pkg: %d, Error Pkg cnt: %d, Error Percentage: %.2f/10K.\r\n", mcu_timestamp, sensor_pkg_cnt, sensor_err_pkg_cnt, ((10000.0*sensor_err_pkg_cnt)/sensor_pkg_cnt));
      key1_pressed = 0;
    }
  }

  /* USER CODE END 5 */
}

void StartAdcTask(void *argument)
{
  /* USER CODE BEGIN StartAdcTask */
  UNUSED(argument);

  uint16_t TS_CAL1, TS_CAL2;
  uint32_t adc_value;
  float cpu_temp = 0;
  TS_CAL1 = *(__IO uint16_t *)(0x1FF1E820);
	TS_CAL2 = *(__IO uint16_t *)(0x1FF1E840);

  ICM42688_Init();
  for(;;){
    HAL_ADC_Start(&hadc3);	//启动ADC转换
	  HAL_ADC_PollForConversion(&hadc3, 10);	//等待转换完成,10ms表示超时时间
	  adc_value = HAL_ADC_GetValue(&hadc3);	//读取ADC转换数据,16位数据）
    cpu_temp = ((110.0f - 30.0f) / (TS_CAL2 - TS_CAL1)) * (adc_value - TS_CAL1) + 30.0f;
    #if PRESS_KEY_B2_SET_SLAVEID
    UNUSED(cpu_temp);
    #else
    if(key2_pressed){
      usb_printf("cpu_temp: %lf\n", cpu_temp);
      key2_pressed = 0;
    }
    #endif

    ICM42688_GetGyro();
    ICM42688_GetAccel();
    ICM42688_GetTemper();
    #if USE_USB_PRINTF
    usb_printf("accelData: %.1f, %.1f, %.1f", ICM42688_Data.accelData[0],ICM42688_Data.accelData[1],ICM42688_Data.accelData[2]);
    usb_printf("gyroData: %.1f, %.1f, %.1f", ICM42688_Data.gyroData[0],ICM42688_Data.gyroData[1],ICM42688_Data.gyroData[2]);
    usb_printf("tempData: %.1f\n", ICM42688_Data.tempData);
    #endif
    osDelay(200);
  }
  /* USER CODE END StartAdcTask */
}

void StartModbusTask(void *argument)
{
  /* USER CODE BEGIN StartModbusTask */
  UNUSED(argument);
  #if AUTO_GET_NEWLY_PLUGGED_SENSOR
  uint8_t current_sensor_num;
  #endif
  HAL_StatusTypeDef state;
  #if GET_MAGSENSOR_DATA
  uint16_t PC_buf_size=0;
  #endif
  uint16_t led_cnt = 0;

  osDelay(500);
  ptpd_init();
  udp_conn_init();

  ip_addr_t remote_ip = create_ip_addr(192, 168, 1, 255);
  // pcb = create_udp_recv(pcb, netif_default->ip_addr, 5001, recv_buf, 1024, example_recv_udp, NULL);
  pcb = create_udp_send(6001);

  //清空rx_buf,开启DMA空闲中断接收
  // SCB_CleanDcache_by_Addr((uint32_t*)rx_buf, RX_BUF_SIZE);
  HAL_UARTEx_ReceiveToIdle_DMA(&hlpuart1, rx_buf, RX_BUF_SIZE);
  __HAL_DMA_DISABLE_IT(&hdma_lpuart1_rx, DMA_IT_HT);

  mcu_timestamp = 0;
  TIM2_time_s = 0;
  sensor_pkg_cnt = 0;
  sensor_err_pkg_cnt  = 0;

  #if RESET_ALL_SLAVE_ID_WHEN_RESET
  uint8_t temp_slaveID = MB_Temp_ID;
  Modbus_CMD51_WriteBytes(MB_Broadcast_ID, 0x00, 0x01, &temp_slaveID);
  Init_SlaveID_Map();
  osDelay(1000);
  #else
  //检查已有的SlaveID，配置slaveID_map[8]
  state = Check_MagSensors_SlaveID();
  #endif

  #if INITIAL_GET_NEWLY_PLUGGED_SENSOR
  state=Get_MagSensors_Plugged();
  while(state == HAL_OK){
    state=Get_MagSensors_Plugged();
  };
  #endif

  //更新配置
  for(uint8_t i=0; i<sensor_num; i++){
    Get_MagSensor_Config(&mag_sensor[i]);
    osDelay(1);
  }

  for (;;){
    #if GET_MAGSENSOR_DATA  //get sensor data->trigger measure and mark the time
    Modbus_CMD60_TriggerMeasurement(MB_Broadcast_ID);
    Update_TimeStamp();
    #if !(USE_MAG_SENSOR_DRDY)
    // TickType_t xStartTime = xTaskGetTickCount();
    osDelay(5);
    // TickType_t xEndTime = xTaskGetTickCount();
    // usb_printf("real delay time of osDelay5: %d\n", xEndTime-xStartTime);
    #endif
    Get_MagSensors_Data();
    //send to PC
    // usb_printf("Time Stamp: %.1lf, Total Expected Pkg: %d, Error Pkg cnt: %d, Error Percentage: %.2f/10K.\n", mcu_timestamp, sensor_pkg_cnt, sensor_err_pkg_cnt, ((10000.0*sensor_err_pkg_cnt)/sensor_pkg_cnt));
    PC_buf_size = PC_TRANS_Assemble(mcu_timestamp);
    // CDC_Transmit_HS(PC_Trans_Buff, PC_buf_size);
    do_udp_send(pcb, remote_ip, 6002, (void*)PC_Trans_Buff, PC_buf_size);
    #endif

    led_cnt++;
    if(led_cnt > 100 ){
      HAL_GPIO_TogglePin(LED3_GPIO_Port,LED3_Pin);
      led_cnt = 0;
    }

    #if AUTO_GET_NEWLY_PLUGGED_SENSOR //检测新添加的传感器，增加检测uid会等待较短时间ADD_GETUID_DELAY_TIME*REPORT_UID_DELAY_FACTOR=1*100ms
    current_sensor_num=sensor_num;
    if(Get_MagSensors_Plugged() == HAL_OK){
      for(uint8_t i=current_sensor_num; i<sensor_num; i++){
        Get_MagSensor_Config(&mag_sensor[i]);
      }
    };
    #if USE_USB_PRINTF
    usb_printf("Plugged sensor number: %d\n", sensor_num);
    #endif
    #endif

    #if PRESS_KEY_B2_SET_SLAVEID
    if(key2_pressed){
      uint8_t temp_key_set_slaveID = PRESS_KEY_B2_SET_SLAVEID_ADDRESS;
      Modbus_CMD51_WriteBytes(MB_Broadcast_ID,0x00,0x01,&temp_key_set_slaveID);
      key2_pressed = 0;
    }
    if(key3_pressed){
      Modbus_CMD60_TriggerMeasurement(PRESS_KEY_B2_SET_SLAVEID_ADDRESS);
      key3_pressed = 0;
    }
    #endif

    #if !(GET_MAGSENSOR_DATA)
    osDelay(5);
    #endif
  }

  /* USER CODE END StartModbusTask */
}

 /* MPU Configuration */

void MPU_Config(void)
{

  MPU_Region_InitTypeDef MPU_InitStruct = {0};

  /* Disables the MPU */
  HAL_MPU_Disable();

  /** Initializes and configures the Region and the memory to be protected
  */
  MPU_InitStruct.Enable = MPU_REGION_ENABLE;
  MPU_InitStruct.Number = MPU_REGION_NUMBER0;
  MPU_InitStruct.BaseAddress = 0x0;
  MPU_InitStruct.Size = MPU_REGION_SIZE_4GB;
  MPU_InitStruct.SubRegionDisable = 0x87;
  MPU_InitStruct.TypeExtField = MPU_TEX_LEVEL0;
  MPU_InitStruct.AccessPermission = MPU_REGION_NO_ACCESS;
  MPU_InitStruct.DisableExec = MPU_INSTRUCTION_ACCESS_DISABLE;
  MPU_InitStruct.IsShareable = MPU_ACCESS_SHAREABLE;
  MPU_InitStruct.IsCacheable = MPU_ACCESS_NOT_CACHEABLE;
  MPU_InitStruct.IsBufferable = MPU_ACCESS_NOT_BUFFERABLE;

  HAL_MPU_ConfigRegion(&MPU_InitStruct);

  /** Initializes and configures the Region and the memory to be protected
  */
  MPU_InitStruct.Number = MPU_REGION_NUMBER1;
  MPU_InitStruct.BaseAddress = 0x30020000;
  MPU_InitStruct.Size = MPU_REGION_SIZE_128KB;
  MPU_InitStruct.SubRegionDisable = 0x0;
  MPU_InitStruct.TypeExtField = MPU_TEX_LEVEL1;
  MPU_InitStruct.AccessPermission = MPU_REGION_FULL_ACCESS;
  MPU_InitStruct.IsShareable = MPU_ACCESS_NOT_SHAREABLE;

  HAL_MPU_ConfigRegion(&MPU_InitStruct);

  /** Initializes and configures the Region and the memory to be protected
  */
  MPU_InitStruct.Number = MPU_REGION_NUMBER2;
  MPU_InitStruct.BaseAddress = 0x30040000;
  MPU_InitStruct.Size = MPU_REGION_SIZE_512B;
  MPU_InitStruct.TypeExtField = MPU_TEX_LEVEL0;
  MPU_InitStruct.IsShareable = MPU_ACCESS_SHAREABLE;
  MPU_InitStruct.IsBufferable = MPU_ACCESS_BUFFERABLE;

  HAL_MPU_ConfigRegion(&MPU_InitStruct);
  /* Enables the MPU */
  HAL_MPU_Enable(MPU_PRIVILEGED_DEFAULT);

}

void HAL_TIM_PeriodElapsedCallback(TIM_HandleTypeDef *htim)
{
  if (htim->Instance == TIM6)
  {
    HAL_IncTick();
  }
  /* USER CODE BEGIN Callback 1 */
  if (htim->Instance == TIM2){
    TIM2_time_s++;
  }
  /* USER CODE END Callback 1 */
}

void Error_Handler(void)
{
  __disable_irq();
  while (1)
  {
  }
}
